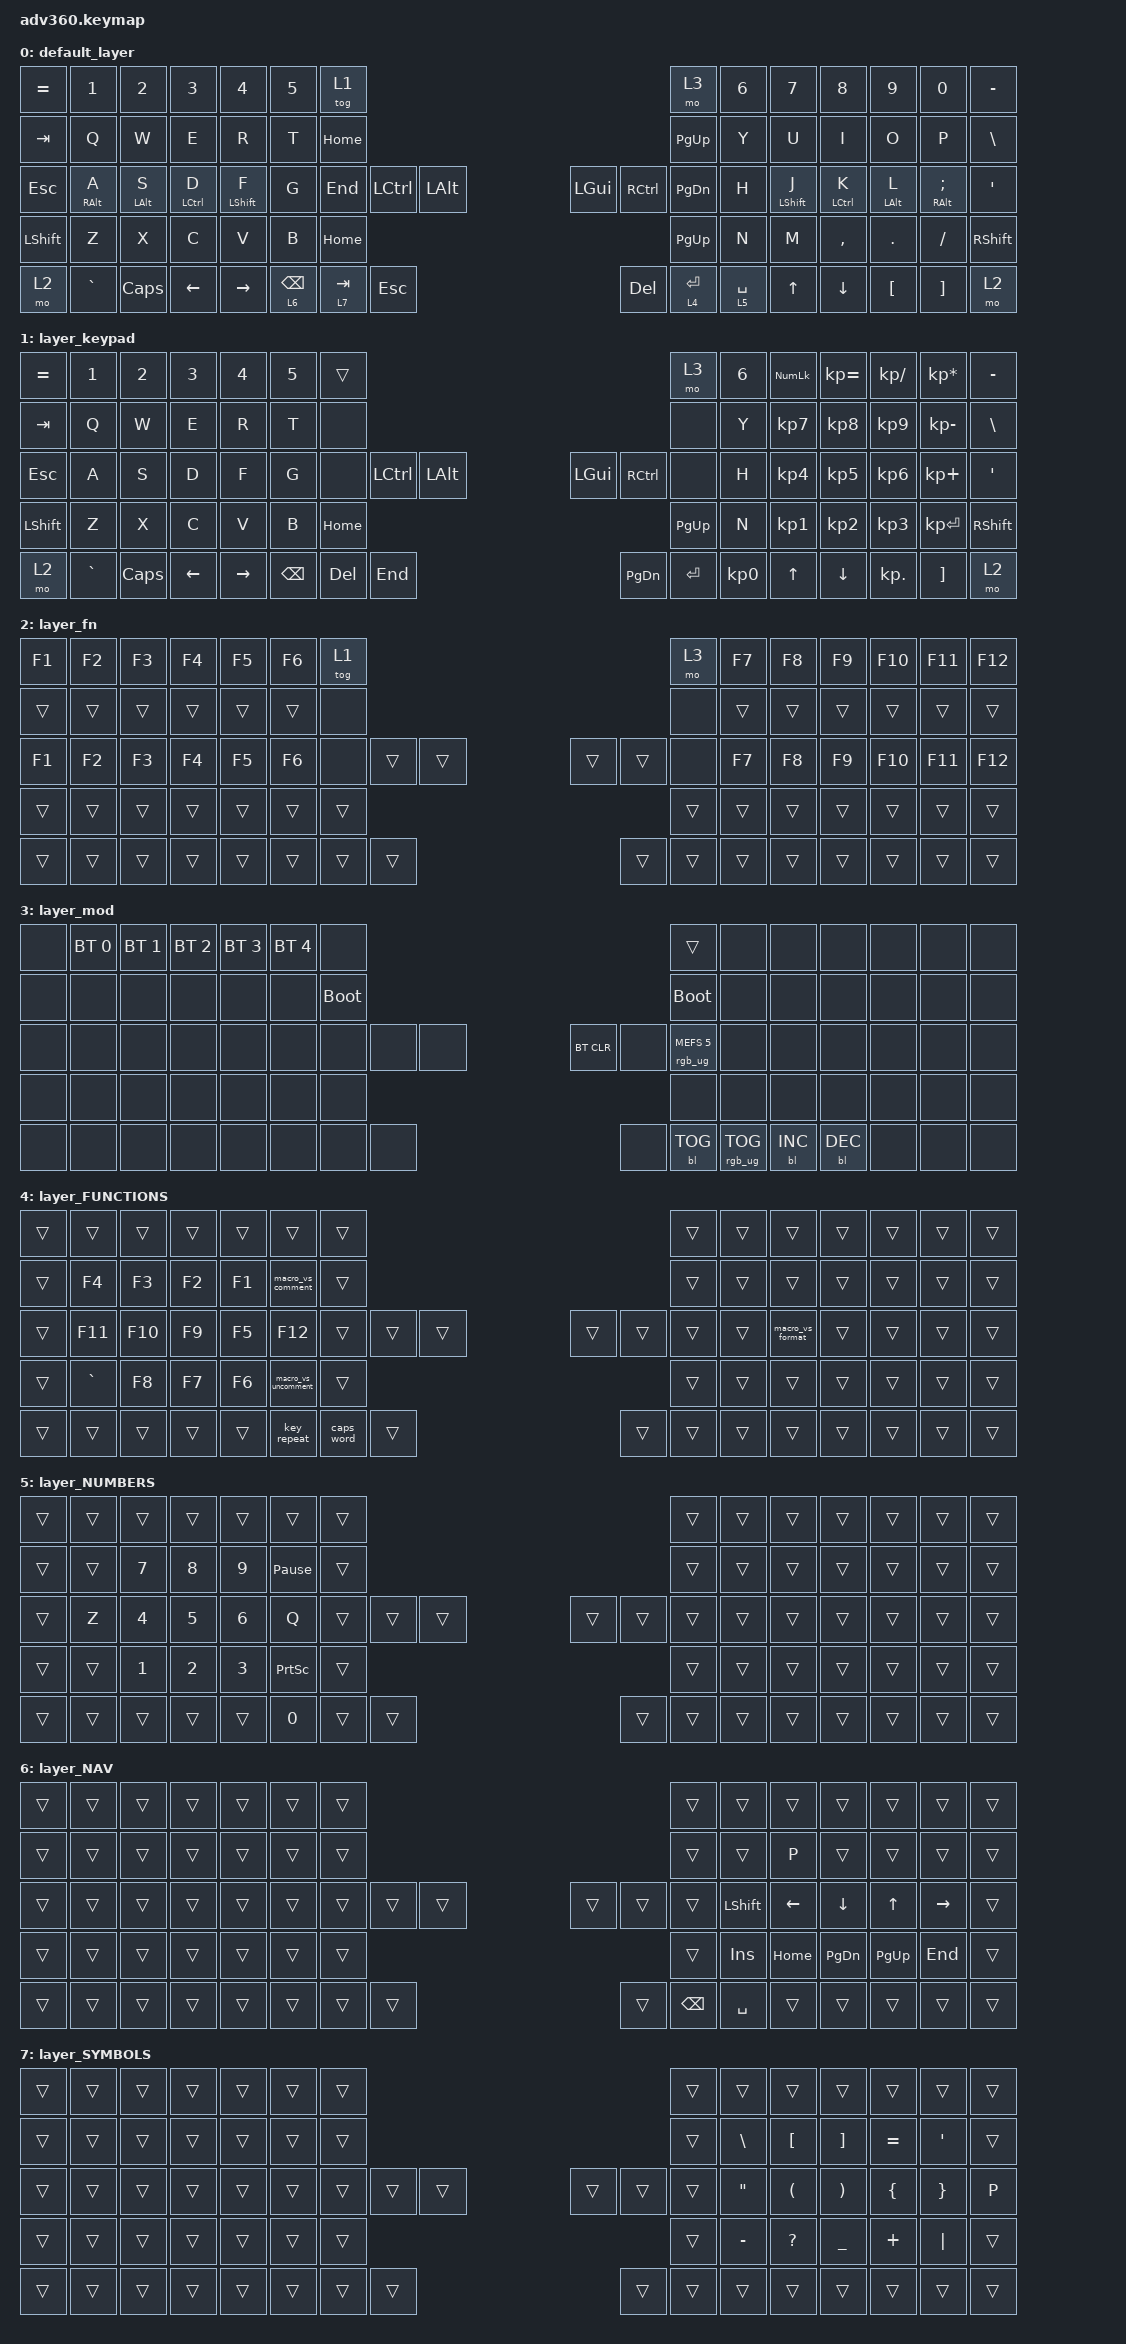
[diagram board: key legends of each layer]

/*
 * Copyright (c) 2020 The ZMK Contributors
 *
 * SPDX-License-Identifier: MIT
 */


/* THIS FILE WAS GENERATED!
 *
 * This file was generated automatically. You may or may not want to
 * edit it directly.
 */

#include <behaviors.dtsi>
#include <dt-bindings/zmk/keys.h>
#include <dt-bindings/zmk/bt.h>
#include <dt-bindings/zmk/rgb.h>
#include <dt-bindings/zmk/backlight.h>

/ {
  behaviors {
    #include "macros.dtsi"

    hm: homerow_mods {
        compatible = "zmk,behavior-hold-tap";
        label = "HOMEROW_MODS";
        #binding-cells = <2>;
        tapping-term-ms = <200>;
        quick_tap_ms = <175>;
        flavor = "tap-preferred";
        bindings = <&kp>, <&kp>;
    };
  };

    keymap {
        compatible = "zmk,keymap";


        default_layer {
            bindings = <
 &kp EQUAL      &kp N1      &kp N2       &kp N3        &kp N4  &kp N5                     &tog 1                                                                      &mo 3  &kp N6        &kp N7       &kp N8      &kp N9         &kp N0  &kp MINUS
   &kp TAB       &kp Q       &kp W        &kp E         &kp R   &kp T                   &kp HOME                                                                  &kp PG_UP   &kp Y         &kp U        &kp I       &kp O          &kp P   &kp BSLH
   &kp ESC  &mt RALT A  &mt LALT S  &mt LCTRL D  &mt LSHIFT F   &kp G                    &kp END  &kp LCTRL  &kp LALT                    &kp LGUI    &kp RCTRL    &kp PG_DN   &kp H  &mt LSHIFT J  &mt LCTRL K  &mt LALT L  &mt RALT SEMI    &kp SQT
 &kp LSHFT       &kp Z       &kp X        &kp C         &kp V   &kp B                                        &kp HOME                   &kp PG_UP                             &kp N         &kp M    &kp COMMA     &kp DOT       &kp FSLH  &kp RSHFT
     &mo 2   &kp GRAVE    &kp CAPS     &kp LEFT     &kp RIGHT                    &lt 6 BACKSPACE  &lt 7 TAB   &kp ESC                  &kp DELETE  &lt 4 ENTER  &lt 5 SPACE                &kp UP     &kp DOWN    &kp LBKT       &kp RBKT      &mo 2
            >;
        };

        layer_keypad {
            bindings = <
 &kp EQUAL     &kp N1    &kp N2    &kp N3     &kp N4  &kp N5              &trans                                                                 &mo 3  &kp N6  &kp KP_NUM  &kp KP_EQUAL  &kp KP_DIVIDE  &kp KP_MULTIPLY  &kp MINUS
   &kp TAB      &kp Q     &kp W     &kp E      &kp R   &kp T               &none                                                                 &none   &kp Y   &kp KP_N7     &kp KP_N8      &kp KP_N9     &kp KP_MINUS   &kp BSLH
   &kp ESC      &kp A     &kp S     &kp D      &kp F   &kp G               &none  &kp LCTRL  &kp LALT                   &kp LGUI  &kp RCTRL      &none   &kp H   &kp KP_N4     &kp KP_N5      &kp KP_N6      &kp KP_PLUS    &kp SQT
 &kp LSHFT      &kp Z     &kp X     &kp C      &kp V   &kp B                                 &kp HOME                  &kp PG_UP                         &kp N   &kp KP_N1     &kp KP_N2      &kp KP_N3     &kp KP_ENTER  &kp RSHFT
     &mo 2  &kp GRAVE  &kp CAPS  &kp LEFT  &kp RIGHT                    &kp BSPC    &kp DEL   &kp END                  &kp PG_DN  &kp ENTER  &kp KP_N0              &kp UP      &kp DOWN     &kp KP_DOT         &kp RBKT      &mo 2
            >;
        };

        layer_fn {
            bindings = <
 &kp F1  &kp F2  &kp F3  &kp F4  &kp F5  &kp F6            &tog 1                                                   &mo 3  &kp F7  &kp F8  &kp F9  &kp F10  &kp F11  &kp F12
 &trans  &trans  &trans  &trans  &trans  &trans             &none                                                   &none  &trans  &trans  &trans   &trans   &trans   &trans
 &kp F1  &kp F2  &kp F3  &kp F4  &kp F5  &kp F6             &none  &trans  &trans                  &trans  &trans   &none  &kp F7  &kp F8  &kp F9  &kp F10  &kp F11  &kp F12
 &trans  &trans  &trans  &trans  &trans  &trans                            &trans                  &trans                  &trans  &trans  &trans   &trans   &trans   &trans
 &trans  &trans  &trans  &trans  &trans                    &trans  &trans  &trans                  &trans  &trans  &trans          &trans  &trans   &trans   &trans   &trans
            >;
        };

        layer_mod {
            bindings = <
  &none  &bt BT_SEL 0  &bt BT_SEL 1  &bt BT_SEL 2  &bt BT_SEL 3  &bt BT_SEL 4                  &none                                                                          &trans   &none       &none       &none   &none   &none   &none
  &none         &none         &none         &none         &none         &none            &bootloader                                                                     &bootloader   &none       &none       &none   &none   &none   &none
  &none         &none         &none         &none         &none         &none                  &none   &none   &none                  &bt BT_CLR       &none  &rgb_ug RGB_MEFS_CMD 5   &none       &none       &none   &none   &none   &none
  &none         &none         &none         &none         &none         &none                                  &none                       &none                                       &none       &none       &none   &none   &none   &none
  &none         &none         &none         &none         &none                                &none   &none   &none                       &none  &bl BL_TOG         &rgb_ug RGB_TOG          &bl BL_INC  &bl BL_DEC   &none   &none   &none
            >;
        };

        layer_FUNCTIONS {
            bindings = <
 &trans     &trans   &trans  &trans  &trans               &trans                 &trans                                                      &trans  &trans            &trans  &trans  &trans  &trans  &trans
 &trans     &kp F4   &kp F3  &kp F2  &kp F1    &macro_vs_comment                 &trans                                                      &trans  &trans            &trans  &trans  &trans  &trans  &trans
 &trans    &kp F11  &kp F10  &kp F9  &kp F5              &kp F12                 &trans      &trans  &trans                  &trans  &trans  &trans  &trans  &macro_vs_format  &trans  &trans  &trans  &trans
 &trans  &kp GRAVE   &kp F8  &kp F7  &kp F6  &macro_vs_uncomment                                     &trans                  &trans                  &trans            &trans  &trans  &trans  &trans  &trans
 &trans     &trans   &trans  &trans  &trans                                 &key_repeat  &caps_word  &trans                  &trans  &trans  &trans                    &trans  &trans  &trans  &trans  &trans
            >;
        };

        layer_NUMBERS {
            bindings = <
 &trans  &trans        &trans  &trans  &trans           &trans            &trans                                                  &trans  &trans  &trans  &trans  &trans  &trans  &trans
 &trans  &trans  &kp NUMBER_7  &kp N8  &kp N9  &kp PAUSE_BREAK            &trans                                                  &trans  &trans  &trans  &trans  &trans  &trans  &trans
 &trans   &kp Z        &kp N4  &kp N5  &kp N6            &kp Q            &trans  &trans  &trans                  &trans  &trans  &trans  &trans  &trans  &trans  &trans  &trans  &trans
 &trans  &trans        &kp N1  &kp N2  &kp N3  &kp PRINTSCREEN                            &trans                  &trans                  &trans  &trans  &trans  &trans  &trans  &trans
 &trans  &trans        &trans  &trans  &trans                             &kp N0  &trans  &trans                  &trans  &trans  &trans          &trans  &trans  &trans  &trans  &trans
            >;
        };

        layer_NAV {
            bindings = <
 &trans  &trans  &trans  &trans  &trans  &trans            &trans                                                            &trans      &trans    &trans     &trans     &trans     &trans  &trans
 &trans  &trans  &trans  &trans  &trans  &trans            &trans                                                            &trans      &trans     &kp P     &trans     &trans     &trans  &trans
 &trans  &trans  &trans  &trans  &trans  &trans            &trans  &trans  &trans                  &trans         &trans     &trans  &kp LSHIFT  &kp LEFT   &kp DOWN     &kp UP  &kp RIGHT  &trans
 &trans  &trans  &trans  &trans  &trans  &trans                            &trans                  &trans                            &kp INSERT  &kp HOME  &kp PG_DN  &kp PG_UP    &kp END  &trans
 &trans  &trans  &trans  &trans  &trans                    &trans  &trans  &trans                  &trans  &kp BACKSPACE  &kp SPACE                &trans     &trans     &trans     &trans  &trans
            >;
        };

        layer_SYMBOLS {
            bindings = <
 &trans  &trans  &trans  &trans  &trans  &trans            &trans                                                  &trans             &trans            &trans             &trans     &trans    &trans  &trans
 &trans  &trans  &trans  &trans  &trans  &trans            &trans                                                  &trans      &kp BACKSLASH  &kp LEFT_BRACKET  &kp RIGHT_BRACKET  &kp EQUAL  &kp APOS  &trans
 &trans  &trans  &trans  &trans  &trans  &trans            &trans  &trans  &trans                  &trans  &trans  &trans  &kp DOUBLE_QUOTES          &kp LPAR           &kp RPAR   &kp LBRC  &kp RBRC   &kp P
 &trans  &trans  &trans  &trans  &trans  &trans                            &trans                  &trans                          &kp MINUS      &kp QUESTION     &kp UNDERSCORE   &kp PLUS  &kp PIPE  &trans
 &trans  &trans  &trans  &trans  &trans                    &trans  &trans  &trans                  &trans  &trans  &trans                               &trans             &trans     &trans    &trans  &trans
            >;
        };

    };
};
